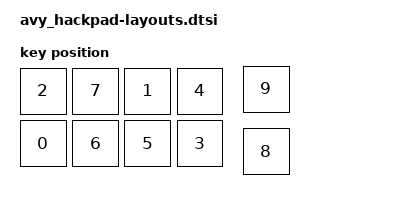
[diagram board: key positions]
// See https://zmk.dev/docs/development/hardware-integration/physical-layouts
// for how to configure this.

#include <physical_layouts.dtsi>

/ {
    physical_layout_avy_hackpad: physical_layout_avy_hackpad {
        compatible = "zmk,physical-layout";
        display-name = "avy-hackpad";
        keys  //                     w   h    x    y     rot    rx    ry
            = <&key_physical_attrs 100 100   54  184       0    54   184>
            , <&key_physical_attrs 100 100  263   79       0   263    79>
            , <&key_physical_attrs 100 100   54   79       0    54    79>
            , <&key_physical_attrs 100 100  368  184       0   368   184>
            , <&key_physical_attrs 100 100  368   79       0   368    79>
            , <&key_physical_attrs 100 100  368(-25)       0   368 (-25)>
            , <&key_physical_attrs 100 100(-50)(-25)       0 (-50) (-25)>
            , <&key_physical_attrs 100 100  159(-25)       0   159 (-25)>
            , <&key_physical_attrs 100 100  263  184       0   263   184>
            , <&key_physical_attrs 100 100  263(-25)       0   263 (-25)>
            , <&key_physical_attrs 100 100   54(-25)       0    54 (-25)>
            , <&key_physical_attrs 100 100(-50)  184       0 (-50)   184>
            , <&key_physical_attrs 100 100  159  184       0   159   184>
            , <&key_physical_attrs 100 100(-50)   79       0 (-50)    79>
            , <&key_physical_attrs 100 100  159   79       0   159    79>
            // Encoder push-buttons (indices 15, 16, 17)
            , <&key_physical_attrs 100 100  500  200       0   500   200>
            , <&key_physical_attrs 100 100  500   75       0   500    75>
            , <&key_physical_attrs 100 100  500(-50)       0   500 (-50)>
            ;
    };
};
